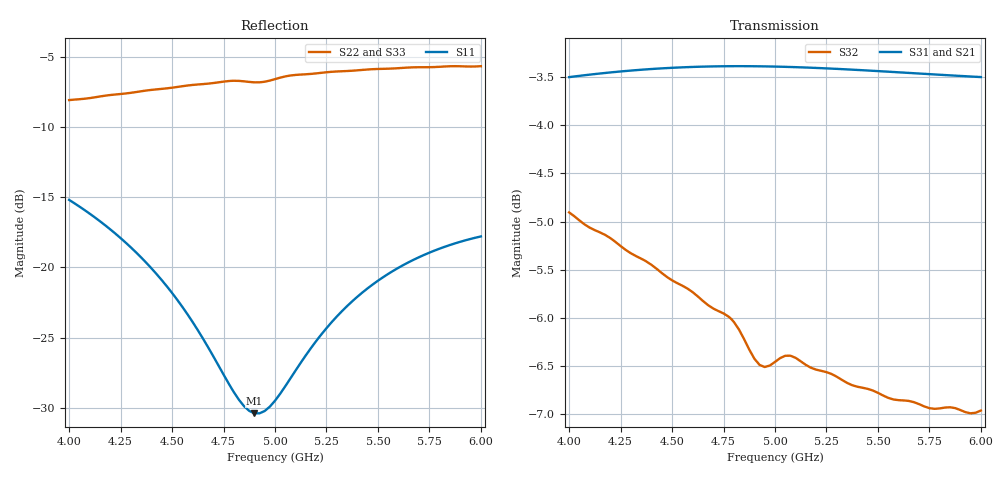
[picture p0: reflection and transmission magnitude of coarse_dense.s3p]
! yapnr rf: divider-osh-w-star-guard, footprint re-simulated (optimization grid)
! spec sha256 e4db8864f030bccbe07fd0aef6c4ce0263ca7f087c5833f028f36e104ebddd66
! 3 ports renormalized to 50 ohm, e^(+jwt) convention
# GHz S RI R 50
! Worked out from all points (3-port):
!   85 points, 4 GHz to 6 GHz, reference 50 ohm
!   strongest paths, dB at 4 GHz, 4.5 GHz, 5 GHz, 5.5 GHz, 6 GHz:
!     S31: -3.5, -3.4, -3.4, -3.4, -3.5
!     S21: -3.5, -3.4, -3.4, -3.4, -3.5
!     S32: -4.9, -5.6, -6.5, -6.8, -7.0
!   lowest |S11| = -30.4 dB at 4.9 GHz (marker M1), VSWR 1.06, Z = 52.7 - j1.6 ohm
!   |S11| at or under -10 dB: start of sweep to end of sweep
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4  0.0291 0.1714  -0.6455 -0.1732  -0.6455 -0.1732
   -0.6454 -0.1738  0.3227 -0.2254  -0.4394 0.3608
   -0.6454 -0.1738  -0.4394 0.3608  0.3227 -0.2254
4.425  0.0537 0.0779  -0.6724 0.0524  -0.6724 0.0524
       -0.6733 0.0513  0.2056 -0.3774  -0.2506 0.4686
       -0.6733 0.0513  -0.2506 0.4686  0.2056 -0.3774
4.6  0.0496 0.0403  -0.6593 0.147  -0.6593 0.147
     -0.6607 0.1459  0.1404 -0.4229  -0.1703 0.4879
     -0.6607 0.1459  -0.1703 0.4879  0.1404 -0.4229
4.825  0.0337 -0.00271  -0.6217 0.2643  -0.6217 0.2643
       -0.6239 0.2636  0.0405 -0.4588  -0.0646 0.4899
       -0.6239 0.2636  -0.0646 0.4899  0.0405 -0.4588
4.9  0.0262 -0.0152  -0.6043 0.3016  -0.6043 0.3016
     -0.6066 0.301  0.0117 -0.455  -0.0371 0.4757
     -0.6066 0.301  -0.0371 0.4757  0.0117 -0.455
5  0.0148 -0.0301  -0.5773 0.3494  -0.5773 0.3494
   -0.58 0.3491  -0.0148 -0.467  -0.0144 0.4752
   -0.58 0.3491  -0.0144 0.4752  -0.0148 -0.467
5.225  -0.0147 -0.0558  -0.5029 0.4472  -0.5029 0.4472
       -0.5059 0.4478  -0.1188 -0.4775  0.0739 0.4645
       -0.5059 0.4478  0.0739 0.4645  -0.1188 -0.4775
5.425  -0.0427 -0.0694  -0.4227 0.5208  -0.4227 0.5208
       -0.4258 0.5224  -0.2057 -0.46  0.142 0.4385
       -0.4258 0.5224  0.142 0.4385  -0.2057 -0.46
5.7  -0.0789 -0.0748  -0.2958 0.5983  -0.2958 0.5983
     -0.2984 0.6014  -0.3141 -0.4083  0.2249 0.392
     -0.2984 0.6014  0.2249 0.392  -0.3141 -0.4083
6  -0.1095 -0.0679  -0.1424 0.6486  -0.1424 0.6486
   -0.1436 0.6529  -0.4055 -0.3248  0.3001 0.3333
   -0.1436 0.6529  0.3001 0.3333  -0.4055 -0.3248
